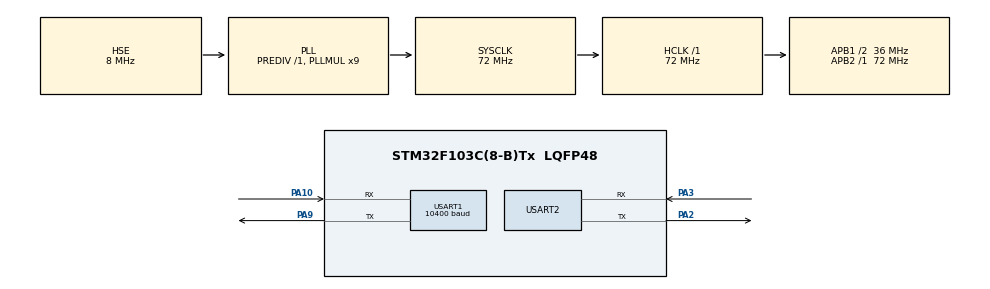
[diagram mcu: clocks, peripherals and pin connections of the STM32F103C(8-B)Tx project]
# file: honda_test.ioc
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Mcu.Family=STM32F1
Mcu.Name=STM32F103C(8-B)Tx
Mcu.Package=LQFP48
NVIC.PriorityGroup=NVIC_PRIORITYGROUP_4
NVIC.USART1_IRQn=true\:0\:0\:false\:false\:true\:true\:true\:true
PA10.Mode=Asynchronous
PA10.Signal=USART1_RX
PA2.Mode=Asynchronous
PA2.Signal=USART2_TX
PA3.Mode=Asynchronous
PA3.Signal=USART2_RX
PA9.Mode=Asynchronous
PA9.Signal=USART1_TX
PD0-OSC_IN.Mode=HSE-External-Oscillator
PD0-OSC_IN.Signal=RCC_OSC_IN
PD1-OSC_OUT.Mode=HSE-External-Oscillator
PD1-OSC_OUT.Signal=RCC_OSC_OUT
ProjectManager.HeapSize=0x200
ProjectManager.StackSize=0x400
ProjectManager.TargetToolchain=MDK-ARM V5.32
RCC.AHBFreq_Value=72000000
RCC.APB1CLKDivider=RCC_HCLK_DIV2
RCC.APB1Freq_Value=36000000
RCC.APB1TimFreq_Value=72000000
RCC.APB2Freq_Value=72000000
RCC.APB2TimFreq_Value=72000000
RCC.HCLKFreq_Value=72000000
RCC.PLLMUL=RCC_PLL_MUL9
RCC.PLLSourceVirtual=RCC_PLLSOURCE_HSE
RCC.SYSCLKFreq_VALUE=72000000
RCC.SYSCLKSource=RCC_SYSCLKSOURCE_PLLCLK
RCC.USBFreq_Value=72000000
USART1.BaudRate=10400
USART1.VirtualMode=VM_ASYNC
USART2.VirtualMode=VM_ASYNC
PA13.Mode=Serial_Wire
PA13.Signal=SYS_JTMS-SWDIO
PA14.Mode=Serial_Wire
PA14.Signal=SYS_JTCK-SWCLK
board=custom

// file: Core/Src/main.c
/* USER CODE BEGIN Header */
/**
  ******************************************************************************
  * @file           : main.c
  * @brief          : Honda K-Line Telemetry - Ban toi gian theo loi goc chay muot
  ******************************************************************************
  */
/* USER CODE END Header */
#include "main.h"

/* USER CODE BEGIN Includes */
#include <string.h>
/* USER CODE END Includes */

UART_HandleTypeDef huart1;
UART_HandleTypeDef huart2;

void SystemClock_Config(void);
static void MX_GPIO_Init(void);
static void MX_USART1_UART_Init(void);
static void MX_USART2_UART_Init(void);

/* USER CODE BEGIN 0 */
#define POLL_REST_MS  100U   /* Nghi 100ms giua cac goi -> tong chu ky ~135-160ms (~6-7 Hz muot) */
#define WAIT_RESP_MS  65U    /* Cho toi da 65ms cho phan hoi ECU */

typedef enum {
    CMD_NONE = 0,
    CMD_WAKEUP,
    CMD_DTC,
    CMD_CLEAR_DTC,
    CMD_ECMID,
    CMD_PROBE
} KlineCmd_t;

uint8_t rx_byte = 0;
uint8_t rx_buffer[128];
volatile uint8_t rx_index = 0;

uint8_t rx2_byte = 0;
uint8_t rx2_buffer[32];
volatile uint8_t rx2_index = 0;
volatile KlineCmd_t cmd_pending = CMD_NONE;
volatile uint8_t probe_table = 0x11;

uint8_t req_wakeup[]   = {0xFE, 0x04, 0x72, 0x8C};
uint8_t req_init[]     = {0x72, 0x05, 0x00, 0xF0, 0x99};
uint8_t req_table11[]  = {0x72, 0x05, 0x71, 0x11, 0x07};
uint8_t req_ecmid[]    = {0x72, 0x05, 0x71, 0x00, 0x18};
uint8_t req_dtc_cur[]  = {0x72, 0x05, 0x71, 0x73, 0xA5};
uint8_t req_dtc_hist[] = {0x72, 0x05, 0x71, 0x74, 0xA4};
uint8_t req_clear_dtc[]= {0x72, 0x05, 0x60, 0x00, 0x29};

static void KLine_IwdgInit(void) {
    IWDG->KR = 0x5555U;
    IWDG->PR = 0x06U;   /* LSI ~40kHz / 256 = 156.25 Hz */
    IWDG->RLR = 312U;   /* ~2.0s timeout */
    IWDG->KR = 0xAAAAU;
    IWDG->KR = 0xCCCCU;
}

static void KLine_IwdgRefresh(void) {
    IWDG->KR = 0xAAAAU;
}

static uint8_t KLine_HexNibble(char c) {
    if (c >= '0' && c <= '9') return (uint8_t)(c - '0');
    if (c >= 'A' && c <= 'F') return (uint8_t)(c - 'A' + 10);
    if (c >= 'a' && c <= 'f') return (uint8_t)(c - 'a' + 10);
    return 0xFFU;
}

static void KLine_FastInit(void) {
    GPIO_InitTypeDef GPIO_InitStruct = {0};

    HAL_UART_DeInit(&huart1);

    GPIO_InitStruct.Pin = GPIO_PIN_9;
    GPIO_InitStruct.Mode = GPIO_MODE_OUTPUT_OD;
    GPIO_InitStruct.Pull = GPIO_NOPULL;
    GPIO_InitStruct.Speed = GPIO_SPEED_FREQ_HIGH;
    HAL_GPIO_Init(GPIOA, &GPIO_InitStruct);

    HAL_GPIO_WritePin(GPIOA, GPIO_PIN_9, GPIO_PIN_RESET);
    HAL_Delay(70);
    KLine_IwdgRefresh();

    HAL_GPIO_WritePin(GPIOA, GPIO_PIN_9, GPIO_PIN_SET);
    HAL_Delay(120);
    KLine_IwdgRefresh();

    MX_USART1_UART_Init();
}

static void KLine_WaitResponse(uint8_t echo_len, uint16_t max_ms) {
    uint32_t start = HAL_GetTick();
    while ((HAL_GetTick() - start) < max_ms) {
        uint8_t idx = rx_index;
        if (idx > (uint8_t)(echo_len + 1U)) {
            uint8_t ecu_len = rx_buffer[echo_len + 1U];
            if (ecu_len >= 4U && ecu_len <= 64U && idx >= (uint8_t)(echo_len + ecu_len)) {
                break;
            }
        }
        HAL_Delay(2);
    }
}

static void KLine_FlushRxToPC(uint8_t echo_len) {
    static char tx_buf[420];
    uint8_t local_buf[sizeof(rx_buffer)];
    uint8_t len = 0;

    __disable_irq();
    len = rx_index;
    if (len > 0U) {
        memcpy(local_buf, rx_buffer, len);
        rx_index = 0;
    }
    __enable_irq();

    if (len <= echo_len || len < 4U) {
        return;
    }

    uint16_t pos = 0;
    const char prefix[] = "Data khac: ";
    memcpy(&tx_buf[pos], prefix, 11);
    pos += 11;

    static const char hex_digits[] = "0123456789ABCDEF";
    for (uint8_t i = 0; i < len; i++) {
        tx_buf[pos++] = hex_digits[(local_buf[i] >> 4) & 0x0F];
        tx_buf[pos++] = hex_digits[local_buf[i] & 0x0F];
        tx_buf[pos++] = ' ';
    }
    tx_buf[pos++] = '\r';
    tx_buf[pos++] = '\n';

    HAL_UART_Transmit(&huart2, (uint8_t *)tx_buf, pos, 100);
}

static void KLine_RunHandshake(void) {
    const char msg1[] = "Dang danh thuc ECU (Fast Init)...\r\n";
    const char msg2[] = "Gui ma Wake up...\r\n";
    const char msg3[] = "Gui ma Init...\r\n";
    const char msg4[] = "Hoan tat khoi tao! Bat dau doc Table 11.\r\n";

    HAL_UART_Transmit(&huart2, (uint8_t *)msg1, sizeof(msg1) - 1U, 100);
    KLine_FastInit();
    HAL_Delay(50);

    __HAL_UART_CLEAR_OREFLAG(&huart1);
    __disable_irq();
    rx_index = 0;
    __enable_irq();
    HAL_UART_Receive_IT(&huart1, &rx_byte, 1);

    HAL_UART_Transmit(&huart2, (uint8_t *)msg2, sizeof(msg2) - 1U, 100);
    HAL_UART_Transmit(&huart1, req_wakeup, sizeof(req_wakeup), 100);
    HAL_Delay(100);

    HAL_UART_Transmit(&huart2, (uint8_t *)msg3, sizeof(msg3) - 1U, 100);
    HAL_UART_Transmit(&huart1, req_init, sizeof(req_init), 100);
    HAL_Delay(100);

    __disable_irq();
    rx_index = 0;
    __enable_irq();

    HAL_UART_Transmit(&huart2, (uint8_t *)msg4, sizeof(msg4) - 1U, 100);
}

static void KLine_SendRequestAndFlush(const uint8_t *req, uint8_t req_len, uint16_t wait_ms) {
    if (huart1.RxState == HAL_UART_STATE_READY) {
        __HAL_UART_CLEAR_OREFLAG(&huart1);
        HAL_UART_Receive_IT(&huart1, &rx_byte, 1);
    }

    __disable_irq();
    rx_index = 0;
    __enable_irq();

    HAL_UART_Transmit(&huart1, (uint8_t *)req, req_len, 100);
    KLine_WaitResponse(req_len, wait_ms);
    KLine_FlushRxToPC(req_len);
}
/* USER CODE END 0 */

int main(void)
{
  HAL_Init();
  SystemClock_Config();

  MX_GPIO_Init();
  MX_USART1_UART_Init();
  MX_USART2_UART_Init();

  /* USER CODE BEGIN 2 */
  __HAL_UART_CLEAR_OREFLAG(&huart2);
  HAL_UART_Receive_IT(&huart2, &rx2_byte, 1);

  KLine_IwdgInit();
  KLine_RunHandshake();
  /* USER CODE END 2 */

  while (1)
  {
    /* USER CODE BEGIN 3 */
    KLine_IwdgRefresh();

    if (cmd_pending != CMD_NONE) {
        KlineCmd_t cmd = cmd_pending;
        cmd_pending = CMD_NONE;
        if (cmd == CMD_WAKEUP) {
            KLine_RunHandshake();
        } else if (cmd == CMD_ECMID) {
            KLine_SendRequestAndFlush(req_ecmid, sizeof(req_ecmid), WAIT_RESP_MS);
        } else if (cmd == CMD_DTC) {
            KLine_SendRequestAndFlush(req_dtc_cur, sizeof(req_dtc_cur), WAIT_RESP_MS);
            HAL_Delay(20);
            KLine_SendRequestAndFlush(req_dtc_hist, sizeof(req_dtc_hist), WAIT_RESP_MS);
        } else if (cmd == CMD_CLEAR_DTC) {
            KLine_SendRequestAndFlush(req_clear_dtc, sizeof(req_clear_dtc), WAIT_RESP_MS);
        } else if (cmd == CMD_PROBE) {
            uint8_t tbl = probe_table;
            uint8_t cs = (uint8_t)(256U - ((0x72U + 0x05U + 0x71U + tbl) & 0xFFU));
            uint8_t req_probe[5] = {0x72, 0x05, 0x71, tbl, cs};
            KLine_SendRequestAndFlush(req_probe, sizeof(req_probe), WAIT_RESP_MS);
        }
    }

    KLine_SendRequestAndFlush(req_table11, sizeof(req_table11), WAIT_RESP_MS);

    /* Nghi de bus tho roi hoi tiep */
    HAL_Delay(POLL_REST_MS);
    /* USER CODE END 3 */
  }
}

void SystemClock_Config(void)
{
  RCC_OscInitTypeDef RCC_OscInitStruct = {0};
  RCC_ClkInitTypeDef RCC_ClkInitStruct = {0};

  RCC_OscInitStruct.OscillatorType = RCC_OSCILLATORTYPE_HSE;
  RCC_OscInitStruct.HSEState = RCC_HSE_ON;
  RCC_OscInitStruct.HSEPredivValue = RCC_HSE_PREDIV_DIV1;
  RCC_OscInitStruct.HSIState = RCC_HSI_ON;
  RCC_OscInitStruct.PLL.PLLState = RCC_PLL_ON;
  RCC_OscInitStruct.PLL.PLLSource = RCC_PLLSOURCE_HSE;
  RCC_OscInitStruct.PLL.PLLMUL = RCC_PLL_MUL9;
  if (HAL_RCC_OscConfig(&RCC_OscInitStruct) != HAL_OK)
  {
    Error_Handler();
  }

  RCC_ClkInitStruct.ClockType = RCC_CLOCKTYPE_HCLK|RCC_CLOCKTYPE_SYSCLK
                              |RCC_CLOCKTYPE_PCLK1|RCC_CLOCKTYPE_PCLK2;
  RCC_ClkInitStruct.SYSCLKSource = RCC_SYSCLKSOURCE_PLLCLK;
  RCC_ClkInitStruct.AHBCLKDivider = RCC_SYSCLK_DIV1;
  RCC_ClkInitStruct.APB1CLKDivider = RCC_HCLK_DIV2;
  RCC_ClkInitStruct.APB2CLKDivider = RCC_HCLK_DIV1;

  if (HAL_RCC_ClockConfig(&RCC_ClkInitStruct, FLASH_LATENCY_2) != HAL_OK)
  {
    Error_Handler();
  }
}

static void MX_USART1_UART_Init(void)
{
  huart1.Instance = USART1;
  huart1.Init.BaudRate = 10400;
  huart1.Init.WordLength = UART_WORDLENGTH_8B;
  huart1.Init.StopBits = UART_STOPBITS_1;
  huart1.Init.Parity = UART_PARITY_NONE;
  huart1.Init.Mode = UART_MODE_TX_RX;
  huart1.Init.HwFlowCtl = UART_HWCONTROL_NONE;
  huart1.Init.OverSampling = UART_OVERSAMPLING_16;
  if (HAL_UART_Init(&huart1) != HAL_OK)
  {
    Error_Handler();
  }
}

static void MX_USART2_UART_Init(void)
{
  huart2.Instance = USART2;
  huart2.Init.BaudRate = 115200;
  huart2.Init.WordLength = UART_WORDLENGTH_8B;
  huart2.Init.StopBits = UART_STOPBITS_1;
  huart2.Init.Parity = UART_PARITY_NONE;
  huart2.Init.Mode = UART_MODE_TX_RX;
  huart2.Init.HwFlowCtl = UART_HWCONTROL_NONE;
  huart2.Init.OverSampling = UART_OVERSAMPLING_16;
  if (HAL_UART_Init(&huart2) != HAL_OK)
  {
    Error_Handler();
  }
}

static void MX_GPIO_Init(void)
{
  __HAL_RCC_GPIOD_CLK_ENABLE();
  __HAL_RCC_GPIOA_CLK_ENABLE();
}

/* USER CODE BEGIN 4 */
void HAL_UART_RxCpltCallback(UART_HandleTypeDef *huart) {
    if (huart->Instance == USART1) {
        if (rx_index < sizeof(rx_buffer)) {
            rx_buffer[rx_index++] = rx_byte;
        }
        HAL_UART_Receive_IT(&huart1, &rx_byte, 1);
    }
    else if (huart->Instance == USART2) {
        if (rx2_byte == '\n' || rx2_byte == '\r') {
            if (rx2_index > 0U) {
                rx2_buffer[rx2_index] = '\0';
                char *cmd = (char *)rx2_buffer;
                if (strstr(cmd, "WAKEUP") != NULL) {
                    cmd_pending = CMD_WAKEUP;
                } else if (strstr(cmd, "CLEARDTC") != NULL) {
                    cmd_pending = CMD_CLEAR_DTC;
                } else if (strstr(cmd, "DTC") != NULL) {
                    cmd_pending = CMD_DTC;
                } else if (strstr(cmd, "ECMID") != NULL) {
                    cmd_pending = CMD_ECMID;
                } else {
                    char *p = strstr(cmd, "PROBE ");
                    if (p != NULL) {
                        uint8_t hi = KLine_HexNibble(p[6]);
                        uint8_t lo = KLine_HexNibble(p[7]);
                        if (hi != 0xFFU && lo != 0xFFU) {
                            probe_table = (uint8_t)((hi << 4) | lo);
                            cmd_pending = CMD_PROBE;
                        }
                    }
                }
                rx2_index = 0;
            }
        } else if (rx2_index < (sizeof(rx2_buffer) - 1U)) {
            rx2_buffer[rx2_index++] = rx2_byte;
        } else {
            rx2_index = 0;
        }
        HAL_UART_Receive_IT(&huart2, &rx2_byte, 1);
    }
}

void HAL_UART_ErrorCallback(UART_HandleTypeDef *huart) {
    __IO uint32_t tmpreg;
    tmpreg = huart->Instance->SR;
    tmpreg = huart->Instance->DR;
    (void)tmpreg;

    __HAL_UART_CLEAR_OREFLAG(huart);
    __HAL_UART_CLEAR_FEFLAG(huart);
    __HAL_UART_CLEAR_NEFLAG(huart);
    huart->ErrorCode = HAL_UART_ERROR_NONE;
    huart->RxState = HAL_UART_STATE_READY;

    if (huart->Instance == USART1) {
        HAL_UART_Receive_IT(&huart1, &rx_byte, 1);
    } else if (huart->Instance == USART2) {
        HAL_UART_Receive_IT(&huart2, &rx2_byte, 1);
    }
}
/* USER CODE END 4 */

void Error_Handler(void)
{
  __disable_irq();
  while (1)
  {
  }
}
